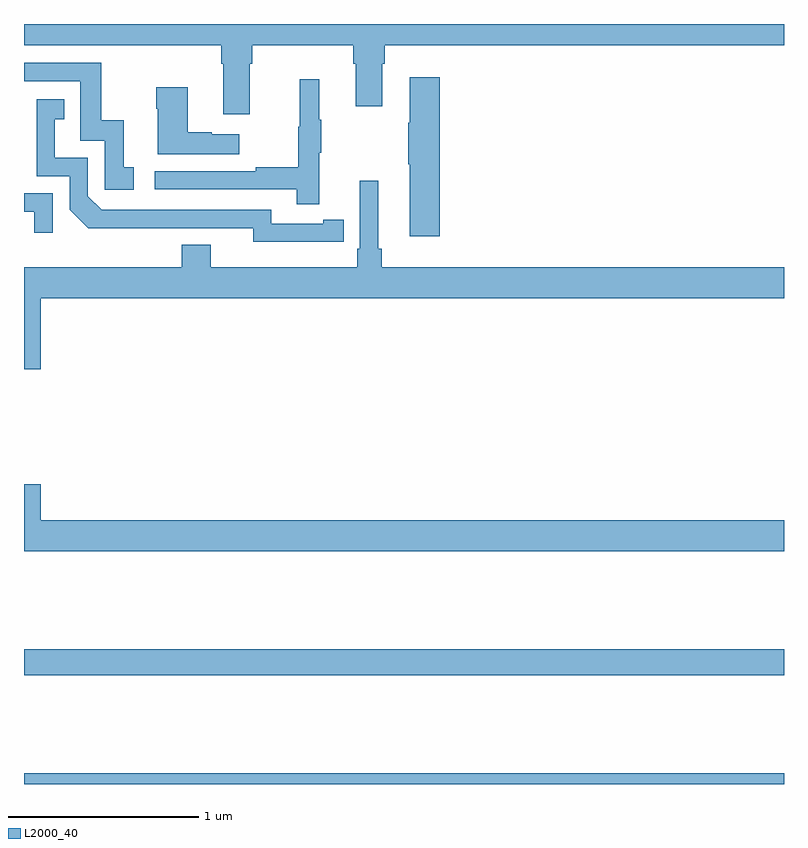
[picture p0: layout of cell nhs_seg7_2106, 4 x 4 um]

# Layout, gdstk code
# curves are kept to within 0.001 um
import gdstk
lib = gdstk.Library(unit=1e-6, precision=1e-09)
def R(c, l, rs):  # rectangles x0, y0, x1, y1
    for r in rs: c.add(gdstk.rectangle(r[:2], r[2:], *l))
def P(c, l, *ps):  # polygons
    for p in ps: c.add(gdstk.Polygon(p, *l))
L2000_40 = (2000, 40)

nhs_seg7_2106 = lib.new_cell('nhs_seg7_2106')
R(nhs_seg7_2106, L2000_40, [(249,1058,253,1058.056), (249,1058.572,253,1058.708)])
P(nhs_seg7_2106, L2000_40, [(250.189,1061.792),(250.202,1061.792),(250.202,1061.888),(250.733,1061.888),(250.733,1061.792),(250.745,1061.792),(250.745,1061.568),(250.885,1061.568),(250.885,1061.792),(250.898,1061.792),(250.898,1061.888),(253,1061.888),(253,1062),(249,1062),(249,1061.888),(250.037,1061.888),(250.037,1061.792),(250.049,1061.792),(250.049,1061.526),(250.189,1061.526)],
  [(249.577,1061.247),(249.524,1061.247),(249.524,1061.494),(249.406,1061.494),(249.406,1061.796),(249,1061.796),(249,1061.7),(249.297,1061.7),(249.297,1061.385),(249.426,1061.385),(249.426,1061.127),(249.577,1061.127)],
  [(251.189,1061.719),(251.03,1061.719),(251.03,1061.48),(251.023,1061.48),(251.023,1061.263),(251.03,1061.263),(251.03,1060.884),(251.189,1060.884)],
  [(250.553,1061.323),(250.564,1061.323),(250.564,1061.497),(250.553,1061.497),(250.553,1061.71),(250.45,1061.71),(250.45,1061.46),(250.443,1061.46),(250.443,1061.246),(250.219,1061.246),(250.219,1061.226),(249.687,1061.226),(249.687,1061.13),(250.435,1061.13),(250.435,1061.052),(250.553,1061.052)],
  [(250.132,1061.419),(249.989,1061.419),(249.989,1061.429),(249.862,1061.429),(249.862,1061.668),(249.697,1061.668),(249.697,1061.555),(249.704,1061.555),(249.704,1061.315),(250.132,1061.315)],
  [(250.574,1060.854),(250.682,1060.854),(250.682,1060.97),(250.574,1060.97),(250.574,1060.95),(250.302,1060.95),(250.302,1061.022),(249.408,1061.022),(249.336,1061.094),(249.336,1061.295),(249.163,1061.295),(249.163,1061.499),(249.212,1061.499),(249.212,1061.605),(249.066,1061.605),(249.066,1061.199),(249.24,1061.199),(249.24,1061.022),(249.338,1060.925),(250.206,1060.926),(250.206,1060.853)],
  [(249.088,1060.556),(253,1060.556),(253,1060.72),(250.883,1060.72),(250.883,1060.816),(250.864,1060.816),(250.864,1061.176),(250.767,1061.176),(250.767,1060.816),(250.754,1060.816),(250.754,1060.72),(249.982,1060.72),(249.982,1060.837),(249.83,1060.837),(249.83,1060.72),(249,1060.72),(249,1060.182),(249.088,1060.182)],
  [(249.15,1061.109),(249,1061.109),(249,1061.013),(249.053,1061.013),(249.053,1060.902),(249.15,1060.902)],
  [(253,1059.388),(249.088,1059.388),(249.088,1059.577),(249,1059.577),(249,1059.224),(253,1059.224)])

lib.write_gds('nhs_seg7_2106.gds')
